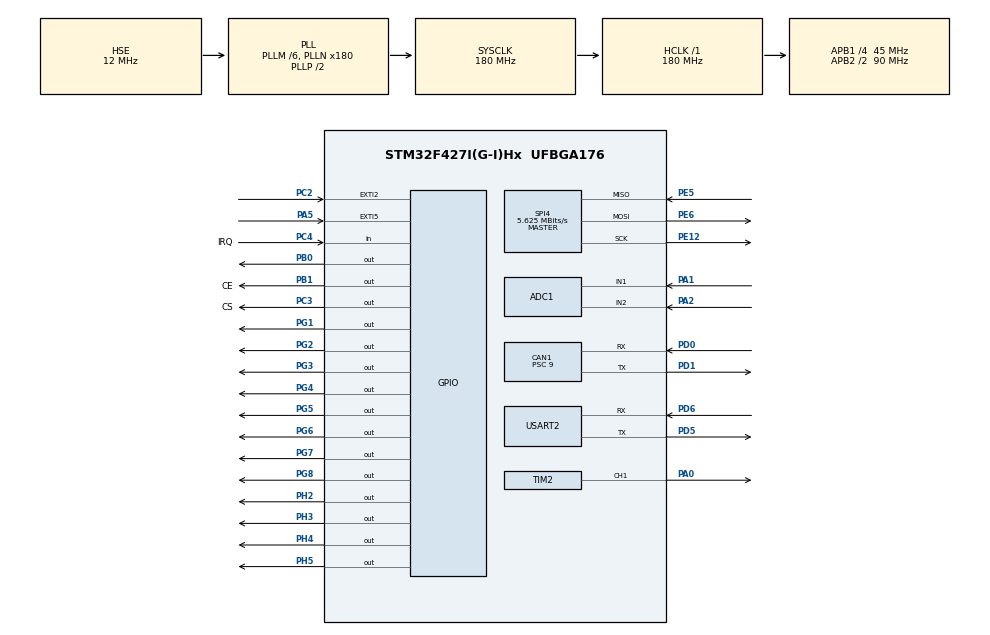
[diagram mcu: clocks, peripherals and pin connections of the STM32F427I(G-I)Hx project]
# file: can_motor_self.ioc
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ADC1.Channel-0\#ChannelRegularConversion=ADC_CHANNEL_1
ADC1.Channel-1\#ChannelRegularConversion=ADC_CHANNEL_1
ADC1.ContinuousConvMode=ENABLE
ADC1.NbrOfConversion=2
ADC1.NbrOfConversionFlag=1
ADC1.Rank-0\#ChannelRegularConversion=1
ADC1.Rank-1\#ChannelRegularConversion=2
ADC1.SamplingTime-0\#ChannelRegularConversion=ADC_SAMPLETIME_3CYCLES
ADC1.SamplingTime-1\#ChannelRegularConversion=ADC_SAMPLETIME_3CYCLES
ADC1.master=1
CAN1.BS1=CAN_BS1_2TQ
CAN1.BS2=CAN_BS2_2TQ
CAN1.CalculateBaudRate=1000000
CAN1.CalculateTimeBit=1000
CAN1.CalculateTimeQuantum=200.0
CAN1.Prescaler=9
Dma.ADC1.0.Direction=DMA_PERIPH_TO_MEMORY
Dma.ADC1.0.FIFOMode=DMA_FIFOMODE_DISABLE
Dma.ADC1.0.Instance=DMA2_Stream0
Dma.ADC1.0.MemDataAlignment=DMA_MDATAALIGN_HALFWORD
Dma.ADC1.0.MemInc=DMA_MINC_ENABLE
Dma.ADC1.0.Mode=DMA_CIRCULAR
Dma.ADC1.0.PeriphDataAlignment=DMA_PDATAALIGN_HALFWORD
Dma.ADC1.0.PeriphInc=DMA_PINC_DISABLE
Dma.ADC1.0.Priority=DMA_PRIORITY_LOW
Dma.Request0=ADC1
Dma.Request1=USART2_RX
Dma.Request2=USART2_TX
Dma.USART2_RX.1.Direction=DMA_PERIPH_TO_MEMORY
Dma.USART2_RX.1.FIFOMode=DMA_FIFOMODE_DISABLE
Dma.USART2_RX.1.Instance=DMA1_Stream5
Dma.USART2_RX.1.MemDataAlignment=DMA_MDATAALIGN_BYTE
Dma.USART2_RX.1.MemInc=DMA_MINC_ENABLE
Dma.USART2_RX.1.Mode=DMA_NORMAL
Dma.USART2_RX.1.PeriphDataAlignment=DMA_PDATAALIGN_BYTE
Dma.USART2_RX.1.PeriphInc=DMA_PINC_DISABLE
Dma.USART2_RX.1.Priority=DMA_PRIORITY_LOW
Dma.USART2_TX.2.Direction=DMA_MEMORY_TO_PERIPH
Dma.USART2_TX.2.FIFOMode=DMA_FIFOMODE_DISABLE
Dma.USART2_TX.2.Instance=DMA1_Stream6
Dma.USART2_TX.2.MemDataAlignment=DMA_MDATAALIGN_BYTE
Dma.USART2_TX.2.MemInc=DMA_MINC_ENABLE
Dma.USART2_TX.2.Mode=DMA_NORMAL
Dma.USART2_TX.2.PeriphDataAlignment=DMA_PDATAALIGN_BYTE
Dma.USART2_TX.2.PeriphInc=DMA_PINC_DISABLE
Dma.USART2_TX.2.Priority=DMA_PRIORITY_LOW
Mcu.Family=STM32F4
Mcu.Name=STM32F427I(G-I)Hx
Mcu.Package=UFBGA176
NVIC.CAN1_RX0_IRQn=true\:0\:0\:false\:false\:true\:true\:true\:true
NVIC.CAN1_RX1_IRQn=true\:0\:0\:false\:false\:true\:true\:true\:true
NVIC.CAN1_SCE_IRQn=true\:0\:0\:false\:false\:true\:true\:true\:true
NVIC.CAN1_TX_IRQn=true\:0\:0\:false\:false\:true\:true\:true\:true
NVIC.DMA1_Stream5_IRQn=true\:0\:0\:false\:false\:true\:false\:true\:true
NVIC.DMA1_Stream6_IRQn=true\:0\:0\:false\:false\:true\:false\:true\:true
NVIC.DMA2_Stream0_IRQn=true\:0\:0\:false\:false\:true\:false\:true\:true
NVIC.PriorityGroup=NVIC_PRIORITYGROUP_4
NVIC.USART2_IRQn=true\:0\:0\:false\:false\:true\:true\:true\:true
PA0/WKUP.Signal=S_TIM2_CH1_ETR
PA1.Signal=ADCx_IN1
PA13.Mode=Serial_Wire
PA13.Signal=SYS_JTMS-SWDIO
PA14.Mode=Serial_Wire
PA14.Signal=SYS_JTCK-SWCLK
PA2.Signal=ADCx_IN2
PA5.Signal=GPXTI5
PB0.PinState=GPIO_PIN_SET
PB0.Signal=GPIO_Output
PB1.GPIO_Label=CE
PB1.GPIO_PuPd=GPIO_PULLUP
PB1.GPIO_Speed=GPIO_SPEED_FREQ_HIGH
PB1.PinState=GPIO_PIN_SET
PB1.Signal=GPIO_Output
PC2.Signal=GPXTI2
PC3.GPIO_Label=CS
PC3.GPIO_PuPd=GPIO_PULLUP
PC3.GPIO_Speed=GPIO_SPEED_FREQ_HIGH
PC3.PinState=GPIO_PIN_SET
PC3.Signal=GPIO_Output
PC4.GPIO_Label=IRQ
PC4.GPIO_PuPd=GPIO_PULLUP
PC4.Signal=GPIO_Input
PD0.Mode=CAN_Activate
PD0.Signal=CAN1_RX
PD1.Mode=CAN_Activate
PD1.Signal=CAN1_TX
PD5.Mode=Asynchronous
PD5.Signal=USART2_TX
PD6.Mode=Asynchronous
PD6.Signal=USART2_RX
PE12.Mode=Full_Duplex_Master
PE12.Signal=SPI4_SCK
PE5.Mode=Full_Duplex_Master
PE5.Signal=SPI4_MISO
PE6.Mode=Full_Duplex_Master
PE6.Signal=SPI4_MOSI
PG1.GPIO_ModeDefaultOutputPP=GPIO_MODE_OUTPUT_PP
PG1.GPIO_PuPd=GPIO_PULLUP
PG1.Signal=GPIO_Output
PG2.Signal=GPIO_Output
PG3.Signal=GPIO_Output
PG4.Signal=GPIO_Output
PG5.Signal=GPIO_Output
PG6.Signal=GPIO_Output
PG7.Signal=GPIO_Output
PG8.Signal=GPIO_Output
PH0/OSC_IN.Mode=HSE-External-Oscillator
PH0/OSC_IN.Signal=RCC_OSC_IN
PH1/OSC_OUT.Mode=HSE-External-Oscillator
PH1/OSC_OUT.Signal=RCC_OSC_OUT
PH2.GPIO_PuPd=GPIO_PULLUP
PH2.Signal=GPIO_Output
PH3.GPIO_PuPd=GPIO_PULLUP
PH3.Signal=GPIO_Output
PH4.GPIO_PuPd=GPIO_PULLUP
PH4.PinState=GPIO_PIN_SET
PH4.Signal=GPIO_Output
PH5.GPIO_PuPd=GPIO_PULLUP
PH5.PinState=GPIO_PIN_RESET
PH5.Signal=GPIO_Output
ProjectManager.HeapSize=0x200
ProjectManager.StackSize=0x400
ProjectManager.TargetToolchain=MDK-ARM V5.32
RCC.48MHZClocksFreq_Value=90000000
RCC.AHBFreq_Value=180000000
RCC.APB1CLKDivider=RCC_HCLK_DIV4
RCC.APB1Freq_Value=45000000
RCC.APB1TimFreq_Value=90000000
RCC.APB2CLKDivider=RCC_HCLK_DIV2
RCC.APB2Freq_Value=90000000
RCC.APB2TimFreq_Value=180000000
RCC.CortexFreq_Value=180000000
RCC.HCLKFreq_Value=180000000
RCC.HSE_VALUE=12000000
RCC.HSI_VALUE=16000000
RCC.LSE_VALUE=32768
RCC.PLLM=6
RCC.PLLN=180
RCC.PLLSourceVirtual=RCC_PLLSOURCE_HSE
RCC.SYSCLKFreq_VALUE=180000000
RCC.SYSCLKSource=RCC_SYSCLKSOURCE_PLLCLK
RCC.VCOOutputFreq_Value=360000000
SH.ADCx_IN1.0=ADC1_IN1,IN1
SH.ADCx_IN2.0=ADC1_IN2,IN2
SH.S_TIM2_CH1_ETR.0=TIM2_CH1,PWM Generation1 CH1
SPI4.BaudRatePrescaler=SPI_BAUDRATEPRESCALER_16
SPI4.CLKPhase=SPI_PHASE_1EDGE
SPI4.CLKPolarity=SPI_POLARITY_LOW
SPI4.CRCCalculation=SPI_CRCCALCULATION_DISABLE
SPI4.CalculateBaudRate=5.625 MBits/s
SPI4.DataSize=SPI_DATASIZE_8BIT
SPI4.Direction=SPI_DIRECTION_2LINES
SPI4.Mode=SPI_MODE_MASTER
SPI4.VirtualType=VM_MASTER
TIM2.AutoReloadPreload=TIM_AUTORELOAD_PRELOAD_ENABLE
TIM2.Channel-PWM\ Generation1\ CH1=TIM_CHANNEL_1
TIM2.Period=2000
TIM2.Prescaler=180-01
TIM2.Pulse-PWM\ Generation1\ CH1=0
USART2.VirtualMode=VM_ASYNC
VP_TIM2_VS_ClockSourceINT.Mode=Internal
board=custom

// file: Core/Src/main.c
/* USER CODE BEGIN Header */
/**
  ******************************************************************************
  * @file           : main.c
  * @brief          : Main program body
  ******************************************************************************
  * @attention
  *
  * Copyright (c) 2024 STMicroelectronics.
  * All rights reserved.
  *
  * This software is licensed under terms that can be found in the LICENSE file
  * in the root directory of this software component.
  * If no LICENSE file comes with this software, it is provided AS-IS.
  *
  ******************************************************************************
  */
/* USER CODE END Header */
#include "main.h"
#include "adc.h"
#include "can.h"
#include "dma.h"
#include "spi.h"
#include "tim.h"
#include "usart.h"
#include "gpio.h"

/* USER CODE BEGIN Includes */
#include "CAN_receive.h"
#include "bsp_can.h"
#include "A_bsp.h"
#include "motor.h"
#include "Servos.h"
#include "nrf24L01.h"
#include "Vofa_firewater.h"
/* USER CODE END Includes */

/* USER CODE BEGIN PV */
chassis_move_t chassis_move;
uint8_t tx_data[10] = "hello";
uint8_t re_data[10];
int16_t ADC1_num[2];
int16_t X_LC=0,Y_LC;
/* USER CODE END PV */

void SystemClock_Config(void);

int main(void)
{

  /* MCU Configuration--------------------------------------------------------*/

  /* Reset of all peripherals, Initializes the Flash interface and the Systick. */
  HAL_Init();

  /* Configure the system clock */
  SystemClock_Config();

  /* Initialize all configured peripherals */
  MX_GPIO_Init();
  MX_DMA_Init();
  MX_CAN1_Init();
  MX_TIM2_Init();
  MX_SPI4_Init();
  MX_ADC1_Init();
  MX_USART2_UART_Init();
  /* USER CODE BEGIN 2 */

	can_filter_init();//配置CAN过滤器
	HAL_CAN_Start(&hcan1);   //开启CAN总开关
	HAL_CAN_ActivateNotification(&hcan1, CAN_IT_RX_FIFO0_MSG_PENDING);//启动CAN接收中断
	HAL_TIM_PWM_Start(&htim2,TIM_CHANNEL_1);

	HAL_UARTEx_ReceiveToIdle_DMA(&huart2,re_data,5);

  /* USER CODE END 2 */

  /* Infinite loop */
  /* USER CODE BEGIN WHILE */

	chassis_init(&chassis_move);
  while (1)
  {
//		firewater_task();
//		drive_servos(X_LC);
			chassis_feedback_update(&chassis_move);//底盘数据更新
			chassis_control_loop(&chassis_move);//底盘控制PID计算
//			CAN_cmd_chassis(chassis_move.motor_chassis[0].give_current,0,0,0);
		CAN_cmd_chassis(chassis_move.motor_6020.give_current,0,0,0);
		HAL_Delay(1);

    /* USER CODE END WHILE */

  }
}

void SystemClock_Config(void)
{
  RCC_OscInitTypeDef RCC_OscInitStruct = {0};
  RCC_ClkInitTypeDef RCC_ClkInitStruct = {0};

  /** Configure the main internal regulator output voltage
  */
  __HAL_RCC_PWR_CLK_ENABLE();
  __HAL_PWR_VOLTAGESCALING_CONFIG(PWR_REGULATOR_VOLTAGE_SCALE1);

  /** Initializes the RCC Oscillators according to the specified parameters
  * in the RCC_OscInitTypeDef structure.
  */
  RCC_OscInitStruct.OscillatorType = RCC_OSCILLATORTYPE_HSE;
  RCC_OscInitStruct.HSEState = RCC_HSE_ON;
  RCC_OscInitStruct.PLL.PLLState = RCC_PLL_ON;
  RCC_OscInitStruct.PLL.PLLSource = RCC_PLLSOURCE_HSE;
  RCC_OscInitStruct.PLL.PLLM = 6;
  RCC_OscInitStruct.PLL.PLLN = 180;
  RCC_OscInitStruct.PLL.PLLP = RCC_PLLP_DIV2;
  RCC_OscInitStruct.PLL.PLLQ = 4;
  if (HAL_RCC_OscConfig(&RCC_OscInitStruct) != HAL_OK)
  {
    Error_Handler();
  }

  /** Activate the Over-Drive mode
  */
  if (HAL_PWREx_EnableOverDrive() != HAL_OK)
  {
    Error_Handler();
  }

  /** Initializes the CPU, AHB and APB buses clocks
  */
  RCC_ClkInitStruct.ClockType = RCC_CLOCKTYPE_HCLK|RCC_CLOCKTYPE_SYSCLK
                              |RCC_CLOCKTYPE_PCLK1|RCC_CLOCKTYPE_PCLK2;
  RCC_ClkInitStruct.SYSCLKSource = RCC_SYSCLKSOURCE_PLLCLK;
  RCC_ClkInitStruct.AHBCLKDivider = RCC_SYSCLK_DIV1;
  RCC_ClkInitStruct.APB1CLKDivider = RCC_HCLK_DIV4;
  RCC_ClkInitStruct.APB2CLKDivider = RCC_HCLK_DIV2;

  if (HAL_RCC_ClockConfig(&RCC_ClkInitStruct, FLASH_LATENCY_5) != HAL_OK)
  {
    Error_Handler();
  }
}

/* USER CODE BEGIN 4 */

void HAL_UARTEx_RxEventCallback(UART_HandleTypeDef *huart, uint16_t Size)
{
	if(huart == &huart2)
	{
		HAL_UARTEx_ReceiveToIdle_DMA(&huart2,re_data,5);
		if(re_data[0]=='1')
		{
			HAL_GPIO_TogglePin(GPIOG,GPIO_PIN_1);
			re_data[0]='0';
		}
	}
}
/* USER CODE END 4 */

void Error_Handler(void)
{
  __disable_irq();
  while (1)
  {
  }
}
